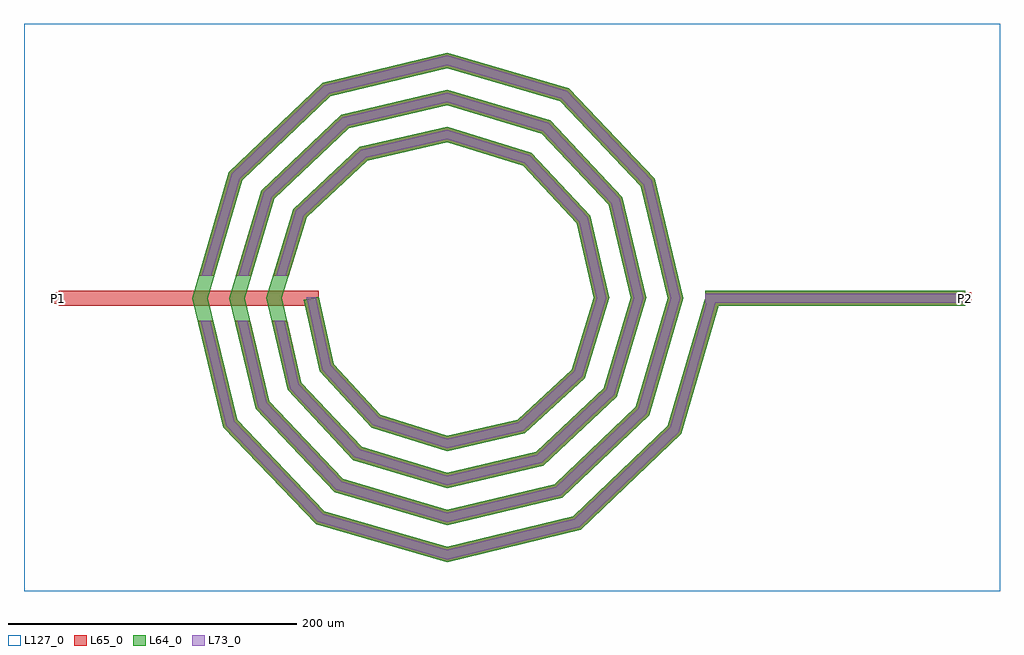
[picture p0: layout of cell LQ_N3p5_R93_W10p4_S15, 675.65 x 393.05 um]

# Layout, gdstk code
import gdstk
lib = gdstk.Library(unit=1e-6, precision=1e-09)
def R(c, l, rs):  # rectangles x0, y0, x1, y1
    for r in rs: c.add(gdstk.rectangle(r[:2], r[2:], *l))
def P(c, l, *ps):  # polygons
    for p in ps: c.add(gdstk.Polygon(p, *l))
L64_0 = (64, 0)
L65_0 = (65, 0)
L73_0 = (73, 0)
L127_0 = (127, 0)

lq_n3p5_r93_w10p4_s15 = lib.new_cell('LQ_N3p5_R93_W10p4_S15')
R(lq_n3p5_r93_w10p4_s15, L64_0, [(178.787,-5.2,358.787,5.2)])
P(lq_n3p5_r93_w10p4_s15, L64_0, [(-78.548,-45.608),(-46.295,-80.623),(0.214,-95.11),(48.807,-84.117),(86.178,-49.518),(101.532,0.201),(89.685,52.007),(52.74,91.734),(0.19,107.955),(-55.209,95.252),(-97.291,55.96),(-114.377,0.18),(-100.819,-58.412),(-59.179,-102.848),(0.17,-120.8),(61.615,-106.386),(108.406,-62.398),(127.222,0.162),(111.952,64.82),(65.616,113.965),(0.155,133.645),(-68.025,117.518),(-119.523,68.833),(-140.068,0.148),(-123.083,-71.23),(-72.05,-125.082),(0.142,-146.49),(74.437,-128.649),(130.641,-75.267),(152.913,0.136),(134.214,77.643),(78.483,136.201),(0.131,159.336),(-80.85,139.779),(-141.761,81.699),(-165.759,0.126),(-145.343,-84.057),(-84.914,-147.321),(0.121,-172.181),(87.265,-150.908),(152.881,-88.129),(178.994,1.455),(188.979,-1.455),(162.085,-93.716),(92.44,-160.35),(0.121,-182.946),(-90.509,-156.52),(-154.79,-89.225),(-176.523,0.126),(-150.956,87.301),(-86.009,149.229),(0.131,170.1),(84.094,145.391),(143.67,82.793),(163.677,0.136),(139.826,-80.887),(79.577,-138.11),(0.142,-157.254),(-77.681,-134.26),(-132.551,-76.36),(-150.831,0.148),(-128.694,74.475),(-73.143,126.991),(0.155,144.408),(71.27,123.128),(121.433,69.925),(137.985,0.162),(117.562,-68.065),(66.706,-115.874),(0.17,-131.562),(-64.861,-111.995),(-110.316,-63.487),(-125.139,0.18),(-106.428,61.657),(-60.267,104.758),(0.19,118.716),(58.455,100.86),(99.201,57.046),(112.293,0.201),(95.292,-55.253),(53.824,-93.644),(0.214,-105.869),(-52.053,-89.722),(-88.089,-50.6),(-99.142,-1.134),(-88.992,1.134)])
R(lq_n3p5_r93_w10p4_s15, L65_0, [(-268.867,-5.2,-88.867,5.2), (178.787,-5.2,358.787,5.2), (-272.867,-4,-264.867,4), (354.787,-4,362.787,4)])
P(lq_n3p5_r93_w10p4_s15, L65_0, [(-145.343,-84.057),(-84.914,-147.321),(0.121,-172.181),(87.265,-150.908),(152.881,-88.129),(178.994,1.455),(188.979,-1.455),(162.085,-93.716),(92.44,-160.35),(0.121,-182.946),(-90.509,-156.52),(-154.79,-89.225),(-172.698,-15.6),(-161.995,-15.6)],
  [(-123.084,-71.231),(-72.05,-125.082),(0.142,-146.49),(74.437,-128.649),(130.641,-75.267),(152.913,0.136),(134.214,77.643),(78.483,136.201),(0.131,159.336),(-80.85,139.779),(-141.761,81.699),(-161.147,15.6),(-171.985,15.6),(-150.956,87.301),(-86.009,149.23),(0.131,170.1),(84.094,145.391),(143.67,82.793),(163.677,0.136),(139.826,-80.887),(79.577,-138.11),(0.142,-157.254),(-77.681,-134.26),(-132.551,-76.36),(-147.068,-15.6),(-136.376,-15.6)],
  [(-100.819,-58.412),(-59.179,-102.848),(0.17,-120.8),(61.615,-106.386),(108.406,-62.398),(127.222,0.162),(111.952,64.82),(65.616,113.965),(0.155,133.645),(-68.025,117.518),(-119.523,68.834),(-135.378,15.6),(-146.229,15.6),(-128.694,74.475),(-73.143,126.991),(0.155,144.408),(71.27,123.128),(121.433,69.925),(137.985,0.162),(117.562,-68.065),(66.706,-115.874),(0.17,-131.562),(-64.861,-111.995),(-110.316,-63.487),(-121.465,-15.6),(-110.787,-15.6)],
  [(-46.295,-80.623),(0.214,-95.11),(48.807,-84.117),(86.178,-49.518),(101.532,0.201),(89.685,52.007),(52.74,91.734),(0.19,107.955),(-55.209,95.252),(-97.291,55.96),(-109.575,15.6),(-120.446,15.6),(-106.428,61.657),(-60.267,104.758),(0.19,118.716),(58.455,100.86),(99.201,57.046),(112.293,0.201),(95.292,-55.254),(53.824,-93.645),(0.214,-105.869),(-52.053,-89.722),(-88.089,-50.6),(-99.142,-1.134),(-88.992,1.134),(-78.548,-45.608)])
R(lq_n3p5_r93_w10p4_s15, L73_0, [(178.787,-3.2,358.787,3.2)])
P(lq_n3p5_r93_w10p4_s15, L73_0, [(-147.16,-85.051),(-85.99,-149.09),(0.075,-174.252),(88.26,-152.724),(154.651,-89.204),(180.914,0.896),(187.059,0.896),(160.315,-92.642),(91.445,-158.534),(0.075,-180.876),(-89.433,-154.751),(-152.973,-88.231),(-170.64,-15.6),(-164.053,-15.6)],
  [(-124.904,-72.217),(-73.133,-126.847),(0.087,-148.56),(75.425,-130.468),(132.408,-76.348),(154.983,0.084),(136.032,78.634),(79.562,137.968),(0.08,161.406),(-81.842,141.596),(-143.529,82.776),(-163.231,15.6),(-169.9,15.6),(-149.187,86.224),(-85.017,147.412),(0.08,168.03),(83.015,143.623),(141.851,81.803),(161.607,0.084),(138.059,-79.806),(78.588,-136.291),(0.087,-155.184),(-76.598,-132.495),(-130.73,-75.374),(-145.012,-15.6),(-138.432,-15.6)],
  [(-102.646,-59.388),(-60.272,-104.607),(0.105,-122.87),(62.595,-108.211),(110.167,-63.488),(129.292,0.1),(113.775,65.802),(66.703,115.727),(0.095,135.715),(-69.009,119.34),(-121.287,69.918),(-137.464,15.6),(-144.142,15.6),(-126.931,73.39),(-72.159,125.17),(0.095,142.338),(70.182,121.366),(119.609,68.943),(135.915,0.1),(115.801,-66.975),(65.727,-114.049),(0.105,-129.492),(-63.768,-110.236),(-108.49,-62.511),(-119.412,-15.6),(-112.841,-15.6)],
  [(-47.403,-82.373),(0.132,-97.179),(49.772,-85.949),(87.931,-50.621),(103.602,0.124),(91.515,52.976),(53.839,93.489),(0.117,110.024),(-56.182,97.081),(-99.048,57.056),(-111.665,15.6),(-118.355,15.6),(-104.671,60.562),(-59.295,102.93),(0.117,116.646),(57.356,99.105),(97.371,56.077),(110.223,0.124),(93.539,-54.151),(52.859,-91.812),(0.132,-103.8),(-50.946,-87.972),(-86.254,-49.64),(-97.19,0.698),(-90.944,0.698),(-80.383,-46.568)])
R(lq_n3p5_r93_w10p4_s15, L127_0, [(-292.867,-202.946,382.787,190.1)])
lq_n3p5_r93_w10p4_s15.add(gdstk.Label('P2', (358.787,0), layer=65, texttype=0))
lq_n3p5_r93_w10p4_s15.add(gdstk.Label('P1', (-268.867,0), layer=65, texttype=0))
lq_n3p5_r93_w10p4_s15.add(gdstk.Label('P2', (362.787,0), layer=145, texttype=0))
lq_n3p5_r93_w10p4_s15.add(gdstk.Label('P1', (-272.867,0), layer=145, texttype=0))

lib.write_gds('LQ_N3p5_R93_W10p4_S15.gds')
